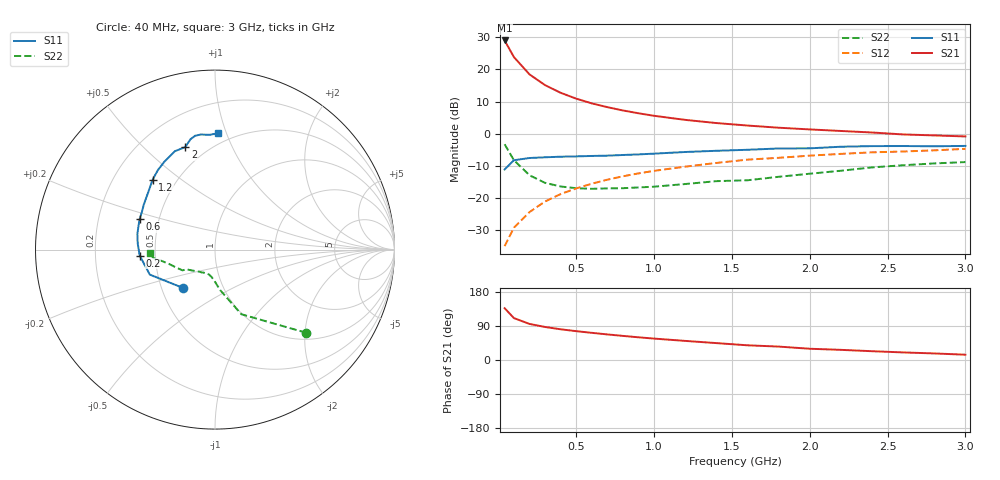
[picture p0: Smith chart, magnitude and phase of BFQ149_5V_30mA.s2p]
! Filename:  BFQ149B.S2P  Version:  2.0
! Philips part #: BFQ149  Date: Aug 1990
! Bias condition: Vce=-5V, Ic=-30mA
#  MHz  S  MA  R  50
! Freq  S11  S21  S12  S22  !GUM [dB]
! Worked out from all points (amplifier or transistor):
!   21 points, 40 MHz to 3 GHz, reference 50 ohm
!   highest |S21| = 29.0 dB at 40 MHz (marker M1)
!   |S21| within 3 dB of that: start of sweep to 74.73 MHz
!   unconditionally stable (mu >= 1): 245.2 MHz to 1.079 GHz
!   at 300 MHz: K = 1.02, MAG = 17.3 dB, |S12| = -21.0 dB
!   at 1 GHz: K = 1.01, MAG = 8.0 dB, |S12| = -11.5 dB
!   at 3 GHz: K = 0.92, MSG = 1.9 dB, |S12| = -4.7 dB
!   S11 on the Smith chart (normalised r, x): 40 MHz: 0.64, -0.30; 200 MHz: 0.41, -0.03; 600 MHz: 0.39, +0.17; 1.2 GHz: 0.37, +0.40; 2 GHz: 0.38, +0.68; 3 GHz: 0.42, +0.94
40  0.279 -130.4  28.16 136.7  0.018 72.6  0.689 -42.3
100  0.389 -159.0  15.51 110.5  0.035 72.1  0.389 -67.8
200  0.421 -175.5  8.364 95.2  0.061 74.7  0.227 -82.8
300  0.432 175.4  5.696 87.1  0.089 75.3  0.173 -91.3
400  0.441 168.8  4.333 81.1  0.116 74.4  0.152 -97.9
500  0.446 163.0  3.515 76.1  0.142 73.4  0.143 -103.5
600  0.453 157.8  2.968 71.7  0.168 72.2  0.14 -107.8
700  0.458 152.8  2.594 67.5  0.194 70.6  0.142 -112.0
800  0.469 147.8  2.305 63.6  0.219 69.2  0.143 -116.1
900  0.479 143.3  2.084 59.9  0.243 67.4  0.147 -120.1
1000  0.492 138.9  1.904 56.5  0.266 65.8  0.151 -125.2
1200  0.522 131.7  1.646 50.4  0.309 62.9  0.166 -134.5
1400  0.545 125.8  1.469 44.6  0.353 60.2  0.184 -142.2
1600  0.565 120.0  1.344 38.8  0.397 56.0  0.19 -144.7
1800  0.592 112.2  1.244 35.4  0.424 53.9  0.215 -147.5
2000  0.595 106.2  1.17 29.7  0.458 51.1  0.24 -155.8
2200  0.63 102.5  1.107 26.8  0.488 49.0  0.267 -162.4
2400  0.644 99.9  1.048 23.2  0.516 46.6  0.301 -167.7
2600  0.646 97.0  0.978 20.0  0.531 43.8  0.325 -170.2
2800  0.64 92.7  0.944 17.3  0.554 41.8  0.347 -172.3
3000  0.649 88.4  0.91 14.0  0.584 39.2  0.364 -176.7
